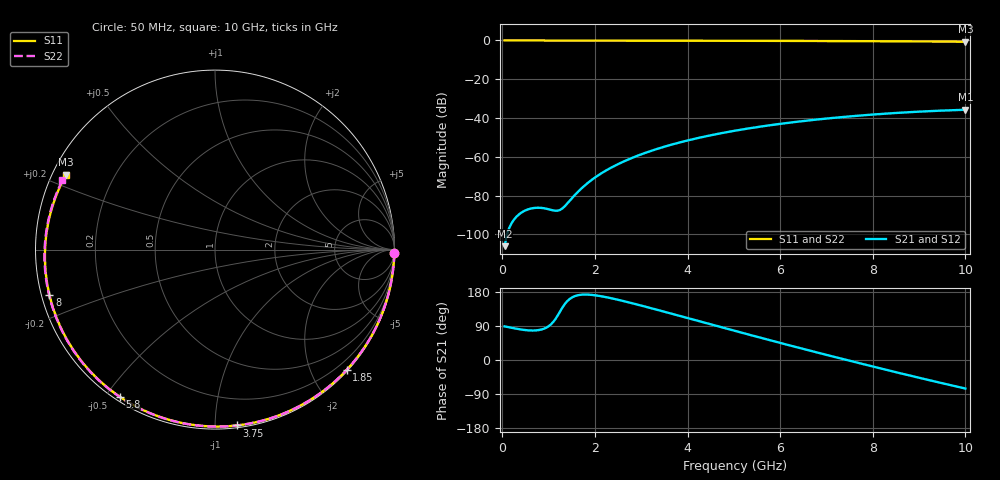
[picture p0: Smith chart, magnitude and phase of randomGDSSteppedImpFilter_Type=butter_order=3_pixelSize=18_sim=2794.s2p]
! freq	dB(S11)	phase(S11)	dB(S12)	phase(S12)
!  dB(S21)	phase(S21)	dB(S22)	phase(S22)
!S-par simulation data
#  GHz  S  DB  R 50
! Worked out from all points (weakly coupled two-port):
!   200 points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, 50 MHz to 10 GHz, reference 50 ohm
!   highest |S21| = -35.76 dB at 10 GHz (marker M1); lowest = -106.1 dB at 50 MHz (marker M2)
!   lowest |S11| = -0.6 dB at 10 GHz (marker M3), VSWR 27.21, Z = 1.94 + j11.9 ohm
!   |S11| at or under -10 dB: nowhere
!   |S22| runs from -0.6 to 0.0 dB; largest |S21 - S12| = 0
!   S11 on the Smith chart (normalised r, x): 50 MHz: open; 1.85 GHz: 0.02, -2.58; 3.75 GHz: 0.01, -1.13; 5.8 GHz: 0.02, -0.54; 8 GHz: 0.02, -0.13; 10 GHz: 0.04, +0.24
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0.05  -0.00 -1.1  -106.11 88.7  -106.11 88.7  -0.00 -1.2
0.45  -0.02 -10.5  -88.25 79.7  -88.25 79.7  -0.02 -11.0
0.8  -0.02 -18.6  -86.30 79.3  -86.30 79.3  -0.03 -19.6
1.55  -0.05 -35.7  -80.18 167.8  -80.18 167.8  -0.05 -37.6
1.75  -0.05 -40.2  -75.44 172.6  -75.44 172.6  -0.05 -42.3
1.85  -0.05 -42.4  -73.41 172.5  -73.41 172.5  -0.06 -44.6
2.15  -0.06 -49.0  -68.37 167.9  -68.37 167.9  -0.07 -51.5
2.5  -0.07 -56.6  -63.80 158.9  -63.80 158.9  -0.08 -59.4
2.9  -0.08 -65.2  -59.65 146.8  -59.65 146.8  -0.09 -68.3
3.4  -0.10 -75.7  -55.52 130.7  -55.52 130.7  -0.10 -79.0
3.75  -0.11 -82.9  -53.12 119.1  -53.12 119.1  -0.12 -86.4
4.4  -0.14 -95.9  -49.41 97.5  -49.41 97.5  -0.14 -99.6
5.05  -0.17 -108.6  -46.44 76.0  -46.44 76.0  -0.17 -112.3
5.8  -0.21 -123.0  -43.67 51.6  -43.67 51.6  -0.21 -126.4
6.7  -0.27 -140.0  -41.03 22.9  -41.03 22.9  -0.27 -142.9
7.35  -0.33 -152.3  -39.50 2.7  -39.50 2.7  -0.32 -154.7
8  -0.39 -164.8  -38.22 -17.2  -38.22 -17.2  -0.38 -166.5
8.35  -0.43 -171.7  -37.64 -27.7  -37.64 -27.7  -0.41 -172.9
8.8  -0.48 179.2  -36.98 -41.1  -36.98 -41.1  -0.46 178.7
9.2  -0.53 170.9  -36.49 -52.7  -36.49 -52.7  -0.50 171.2
9.6  -0.58 162.2  -36.08 -64.1  -36.08 -64.1  -0.55 163.5
10  -0.64 153.3  -35.76 -75.3  -35.76 -75.3  -0.60 155.6
